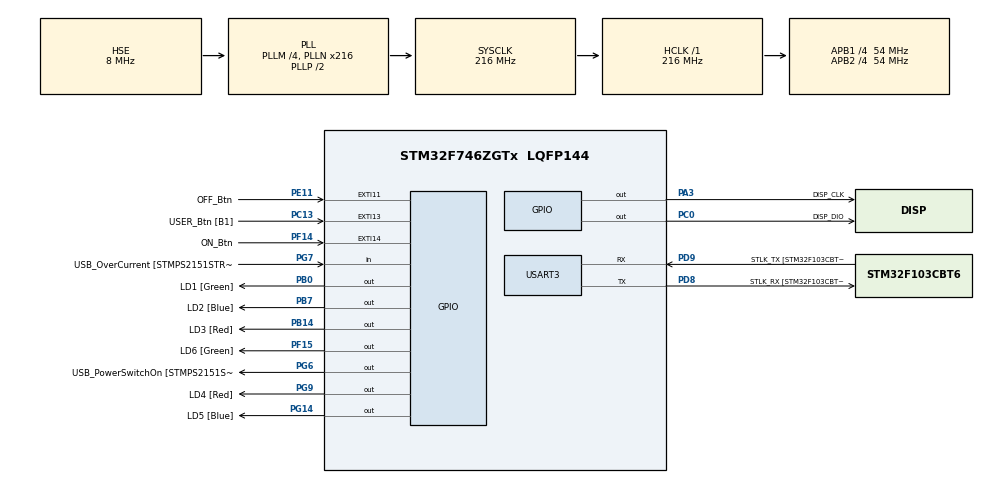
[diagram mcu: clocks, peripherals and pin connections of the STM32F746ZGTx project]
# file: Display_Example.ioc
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Mcu.Family=STM32F7
Mcu.Name=STM32F746ZGTx
Mcu.Package=LQFP144
NVIC.PriorityGroup=NVIC_PRIORITYGROUP_4
NVIC.USART3_IRQn=true\:0\:0\:false\:false\:true\:true\:true\:true
PA1.GPIO_Label=RMII_REF_CLK [LAN8742A-CZ-TR_REFCLK0]
PA1.Signal=ETH_REF_CLK
PA10.GPIO_Label=USB_ID
PA10.Signal=USB_OTG_FS_ID
PA11.GPIO_Label=USB_DM
PA11.Signal=USB_OTG_FS_DM
PA12.GPIO_Label=USB_DP
PA12.Signal=USB_OTG_FS_DP
PA13.GPIO_Label=TMS
PA13.Mode=Serial_Wire
PA13.Signal=SYS_JTMS-SWDIO
PA14.GPIO_Label=TCK
PA14.Mode=Serial_Wire
PA14.Signal=SYS_JTCK-SWCLK
PA2.GPIO_Label=RMII_MDIO [LAN8742A-CZ-TR_MDIO]
PA2.Signal=ETH_MDIO
PA3.GPIO_Label=DISP_CLK
PA3.GPIO_ModeDefaultOutputPP=GPIO_MODE_OUTPUT_OD
PA3.GPIO_PuPd=GPIO_PULLUP
PA3.GPIO_Speed=GPIO_SPEED_FREQ_VERY_HIGH
PA3.Signal=GPIO_Output
PA7.GPIO_Label=RMII_CRS_DV [LAN8742A-CZ-TR_CRS_DV]
PA7.Signal=ETH_CRS_DV
PA8.GPIO_Label=USB_SOF [TP1]
PA8.Signal=USB_OTG_FS_SOF
PA9.GPIO_Label=USB_VBUS
PA9.Signal=USB_OTG_FS_VBUS
PB0.GPIO_Label=LD1 [Green]
PB0.Signal=GPIO_Output
PB13.GPIO_Label=RMII_TXD1 [LAN8742A-CZ-TR_TXD1]
PB13.Signal=ETH_TXD1
PB14.GPIO_Label=LD3 [Red]
PB14.Signal=GPIO_Output
PB3.GPIO_Label=SW0
PB3.Signal=SYS_JTDO-SWO
PB7.GPIO_Label=LD2 [Blue]
PB7.Signal=GPIO_Output
PC0.GPIO_Label=DISP_DIO
PC0.GPIO_ModeDefaultOutputPP=GPIO_MODE_OUTPUT_OD
PC0.GPIO_PuPd=GPIO_PULLUP
PC0.GPIO_Speed=GPIO_SPEED_FREQ_VERY_HIGH
PC0.Signal=GPIO_Output
PC1.GPIO_Label=RMII_MDC [LAN8742A-CZ-TR_MDC]
PC1.Signal=ETH_MDC
PC13.GPIO_Label=USER_Btn [B1]
PC13.Signal=GPXTI13
PC14/OSC32_IN.Mode=LSE-External-Oscillator
PC14/OSC32_IN.Signal=RCC_OSC32_IN
PC15/OSC32_OUT.Mode=LSE-External-Oscillator
PC15/OSC32_OUT.Signal=RCC_OSC32_OUT
PC4.GPIO_Label=RMII_RXD0 [LAN8742A-CZ-TR_RXD0]
PC4.Signal=ETH_RXD0
PC5.GPIO_Label=RMII_RXD1 [LAN8742A-CZ-TR_RXD1]
PC5.Signal=ETH_RXD1
PD8.GPIO_Label=STLK_RX [STM32F103CBT6_PA3]
PD8.GPIO_PuPd=GPIO_PULLUP
PD8.Mode=Asynchronous
PD8.Signal=USART3_TX
PD9.GPIO_Label=STLK_TX [STM32F103CBT6_PA2]
PD9.GPIO_PuPd=GPIO_PULLUP
PD9.Mode=Asynchronous
PD9.Signal=USART3_RX
PE11.GPIO_Label=OFF_Btn
PE11.GPIO_PuPd=GPIO_PULLDOWN
PE11.Signal=GPXTI11
PF14.GPIO_Label=ON_Btn
PF14.GPIO_ModeDefaultEXTI=GPIO_MODE_IT_FALLING
PF14.GPIO_PuPd=GPIO_PULLUP
PF14.Signal=GPXTI14
PF15.GPIO_Label=LD6 [Green]
PF15.Signal=GPIO_Output
PG11.GPIO_Label=RMII_TX_EN [LAN8742A-CZ-TR_TXEN]
PG11.Signal=ETH_TX_EN
PG13.GPIO_Label=RMII_TXD0 [LAN8742A-CZ-TR_TXD0]
PG13.Signal=ETH_TXD0
PG14.GPIO_Label=LD5 [Blue]
PG14.Signal=GPIO_Output
PG6.GPIO_Label=USB_PowerSwitchOn [STMPS2151STR_EN]
PG6.Signal=GPIO_Output
PG7.GPIO_Label=USB_OverCurrent [STMPS2151STR_FAULT]
PG7.Signal=GPIO_Input
PG9.GPIO_Label=LD4 [Red]
PG9.Signal=GPIO_Output
PH0/OSC_IN.GPIO_Label=MCO [STM32F103CBT6_PA8]
PH0/OSC_IN.Mode=HSE-External-Clock-Source
PH0/OSC_IN.Signal=RCC_OSC_IN
PH1/OSC_OUT.Mode=HSE-External-Clock-Source
PH1/OSC_OUT.Signal=RCC_OSC_OUT
ProjectManager.HeapSize=0x200
ProjectManager.StackSize=0x400
ProjectManager.TargetToolchain=STM32CubeIDE
RCC.48MHZClocksFreq_Value=24000000
RCC.AHBFreq_Value=216000000
RCC.APB1CLKDivider=RCC_HCLK_DIV4
RCC.APB1Freq_Value=54000000
RCC.APB1TimFreq_Value=108000000
RCC.APB2CLKDivider=RCC_HCLK_DIV4
RCC.APB2Freq_Value=54000000
RCC.APB2TimFreq_Value=108000000
RCC.CortexFreq_Value=216000000
RCC.HCLKFreq_Value=216000000
RCC.HSE_VALUE=8000000
RCC.HSI_VALUE=16000000
RCC.PLLM=4
RCC.PLLMUL=RCC_PLL_MUL9
RCC.PLLN=216
RCC.PLLQ=3
RCC.PLLSourceVirtual=RCC_PLLSOURCE_HSE
RCC.PRESCALERUSB=RCC_USBCLKSOURCE_PLL_DIV1_5
RCC.SYSCLKFreq_VALUE=216000000
RCC.SYSCLKSource=RCC_SYSCLKSOURCE_PLLCLK
RCC.SYSCLKSourceVirtual=RCC_SYSCLKSOURCE_PLLCLK
RCC.USBFreq_Value=144000000
RCC.VCOOutputFreq_Value=432000000
USART3.VirtualMode-Asynchronous=VM_ASYNC
board=NUCLEO-F746ZG

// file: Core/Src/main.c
/* USER CODE BEGIN Header */
/**
  ******************************************************************************
  * @file           : main.c
  * @brief          : Main program body
  ******************************************************************************
  * @attention
  *
  * Copyright (c) 2023 STMicroelectronics.
  * All rights reserved.
  *
  * This software is licensed under terms that can be found in the LICENSE file
  * in the root directory of this software component.
  * If no LICENSE file comes with this software, it is provided AS-IS.
  *
  ******************************************************************************
  */
/* USER CODE END Header */
#include "main.h"
#include "usart.h"
#include "gpio.h"

/* USER CODE BEGIN Includes */
#include <stdlib.h>
#include "disp.h"
/* USER CODE END Includes */

/* USER CODE BEGIN PV */
DISP_TM1637_HandleTypeDef hdisp1 = {
  .CLK = DIO_INIT_HANDLE(DISP_CLK),
  .DIO = DIO_INIT_HANDLE(DISP_DIO),
  .Separator = TM1637_SEP_NONE
};

uint8_t tx_buffer[8];
const int tx_msg_len = 4;
/* USER CODE END PV */

void SystemClock_Config(void);

/* USER CODE BEGIN 0 */

/**
  * @brief  Rx Transfer completed callback.
  * @param  huart UART handle.
  * @retval None
  */
void HAL_UART_RxCpltCallback(UART_HandleTypeDef *huart)
{
  if(huart == &huart3)
  {
    DISP_TM1637_printDecUInt(&hdisp1, strtol((char*)tx_buffer, 0, 10));
    HAL_UART_Receive_IT(&huart3, tx_buffer, tx_msg_len);
  }
}

/* USER CODE END 0 */

int main(void)
{

  /* MCU Configuration--------------------------------------------------------*/

  /* Reset of all peripherals, Initializes the Flash interface and the Systick. */
  HAL_Init();

  /* Configure the system clock */
  SystemClock_Config();

  /* Initialize all configured peripherals */
  MX_GPIO_Init();
  MX_USART3_UART_Init();
  /* USER CODE BEGIN 2 */
  DISP_TM1637_Init(&hdisp1);
  DISP_TM1637_printDecUInt(&hdisp1, 0);
  HAL_UART_Receive_IT(&huart3, tx_buffer, tx_msg_len);
  /* USER CODE END 2 */

  /* Infinite loop */
  while (1)
  {

  }
}

void SystemClock_Config(void)
{
  RCC_OscInitTypeDef RCC_OscInitStruct = {0};
  RCC_ClkInitTypeDef RCC_ClkInitStruct = {0};

  /** Configure LSE Drive Capability
  */
  HAL_PWR_EnableBkUpAccess();

  /** Configure the main internal regulator output voltage
  */
  __HAL_RCC_PWR_CLK_ENABLE();
  __HAL_PWR_VOLTAGESCALING_CONFIG(PWR_REGULATOR_VOLTAGE_SCALE1);

  /** Initializes the RCC Oscillators according to the specified parameters
  * in the RCC_OscInitTypeDef structure.
  */
  RCC_OscInitStruct.OscillatorType = RCC_OSCILLATORTYPE_HSE;
  RCC_OscInitStruct.HSEState = RCC_HSE_BYPASS;
  RCC_OscInitStruct.PLL.PLLState = RCC_PLL_ON;
  RCC_OscInitStruct.PLL.PLLSource = RCC_PLLSOURCE_HSE;
  RCC_OscInitStruct.PLL.PLLM = 4;
  RCC_OscInitStruct.PLL.PLLN = 216;
  RCC_OscInitStruct.PLL.PLLP = RCC_PLLP_DIV2;
  RCC_OscInitStruct.PLL.PLLQ = 3;
  if (HAL_RCC_OscConfig(&RCC_OscInitStruct) != HAL_OK)
  {
    Error_Handler();
  }

  /** Activate the Over-Drive mode
  */
  if (HAL_PWREx_EnableOverDrive() != HAL_OK)
  {
    Error_Handler();
  }

  /** Initializes the CPU, AHB and APB buses clocks
  */
  RCC_ClkInitStruct.ClockType = RCC_CLOCKTYPE_HCLK|RCC_CLOCKTYPE_SYSCLK
                              |RCC_CLOCKTYPE_PCLK1|RCC_CLOCKTYPE_PCLK2;
  RCC_ClkInitStruct.SYSCLKSource = RCC_SYSCLKSOURCE_PLLCLK;
  RCC_ClkInitStruct.AHBCLKDivider = RCC_SYSCLK_DIV1;
  RCC_ClkInitStruct.APB1CLKDivider = RCC_HCLK_DIV4;
  RCC_ClkInitStruct.APB2CLKDivider = RCC_HCLK_DIV4;

  if (HAL_RCC_ClockConfig(&RCC_ClkInitStruct, FLASH_LATENCY_7) != HAL_OK)
  {
    Error_Handler();
  }
}

void Error_Handler(void)
{
  __disable_irq();
  while (1)
  {
  }
}
